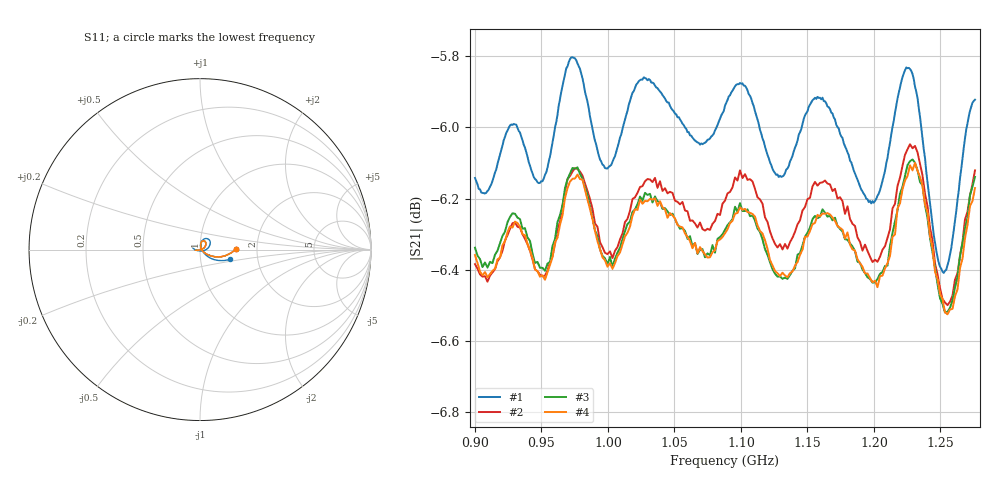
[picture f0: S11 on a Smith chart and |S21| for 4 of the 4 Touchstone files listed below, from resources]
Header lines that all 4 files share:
!Agilent Technologies,E8358A,US41080382,A.04.25
!Agilent E8358A: A.04.25
!Correction: S11(Full 2 Port SOLT,1,2) S21(Full 2 Port SOLT,1,2) S12(Full 2 Port SOLT,1,2) S22(Full 2 Port SOLT,1,2)
!S2P File: Measurements: S11, S21, S12, S22:
# Hz S  dB  R 50
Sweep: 900 MHz to 1.276 GHz
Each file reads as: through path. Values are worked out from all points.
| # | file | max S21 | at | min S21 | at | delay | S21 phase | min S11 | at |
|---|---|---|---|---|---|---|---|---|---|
| 1 | rfout to rfin-1.s2p | -5.80 dB | 973.3 MHz | -6.4 dB | 1.252 GHz | 1.29 ns | -114 deg at 1.088 GHz | -41.8 dB | 1.241 GHz |
| 2 | rfout to rfin-2.s2p | -6.05 dB | 1.227 GHz | -6.5 dB | 1.255 GHz | 1.26 ns | -108 deg at 1.088 GHz | -53.3 dB | 1.25 GHz |
| 3 | rfout to rfin-3.s2p | -6.09 dB | 1.229 GHz | -6.5 dB | 1.253 GHz | 1.25 ns | -108 deg at 1.088 GHz | -52.7 dB | 1.25 GHz |
| 4 | rfout to rfin-4.s2p | -6.10 dB | 1.231 GHz | -6.5 dB | 1.255 GHz | 1.24 ns | -106 deg at 1.088 GHz | -53.6 dB | 1.25 GHz |
